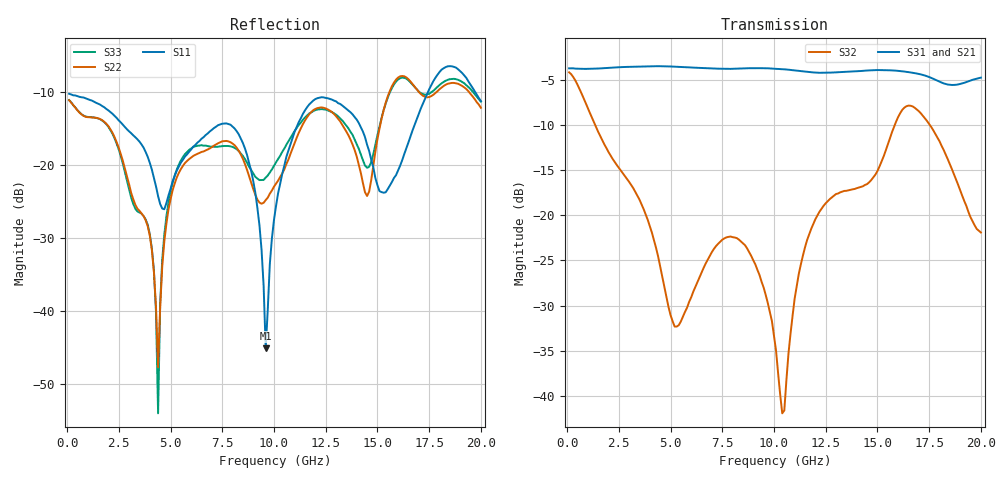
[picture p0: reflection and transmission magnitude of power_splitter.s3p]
!Agilent Technologies,N5242A,MY48320679,A.09.90.11
!Agilent N5242A: A.09.90.11
!Date: Thursday, September 10, 2015 15:28:43
!WITH PORT EXTENSION
!Correction: S11(Full 3 Port(1,2,3))
!S12(Full 3 Port(1,2,3))
!S13(Full 3 Port(1,2,3))
!S21(Full 3 Port(1,2,3))
!S22(Full 3 Port(1,2,3))
!S12(Full 3 Port(1,2,3))
!S31(Full 3 Port(1,2,3))
!S32(Full 3 Port(1,2,3))
!S33(Full 3 Port(1,2,3))
!S3P File: Measurements: <S11,S12,S13>,
!<S21,S22,S23>,
!<S31,S32,S33>:
# Hz S  dB  R 50
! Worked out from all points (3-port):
!   200 points, 100 MHz to 20 GHz, reference 50 ohm
!   strongest paths, dB at 100 MHz, 5.1 GHz, 10.1 GHz, 15.1 GHz, 20 GHz:
!     S31: -3.7, -3.5, -3.8, -3.9, -4.8
!     S21: -3.7, -3.6, -3.8, -4.2, -4.9
!     S32: -4.2, -31.7, -35.0, -14.6, -21.9
!   lowest |S11| = -45.1 dB at 9.6 GHz (marker M1), VSWR 1.01, Z = 49.4 - j0.0223 ohm
!   |S11| at or under -10 dB: start of sweep to 17.45 GHz; 19.72 GHz to end of sweep
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1e8  -10.26 175.7  -3.72 -3.9  -3.73 -3.8
     -3.73 -3.8  -11.14 165.6  -4.17 -8.4
     -3.72 -3.7  -4.17 -8.3  -11.14 165.3
3.9e9  -18.89 50.9  -3.54 -136.9  -3.51 -137.0
       -3.54 -136.9  -28.37 -111.2  -20.51 -153.9
       -3.51 -137.0  -20.51 -153.8  -28.16 -113.9
4.4e9  -24.26 61.0  -3.51 -155.0  -3.49 -155.2
       -3.51 -155.0  -47.66 147.0  -24.57 175.8
       -3.48 -155.2  -24.55 176.0  -53.94 125.0
5.4e9  -20.24 96.0  -3.59 168.4  -3.57 168.1
       -3.59 168.4  -21.09 57.4  -32.18 63.7
       -3.57 168.1  -32.18 63.4  -19.97 55.0
8.3e9  -15.82 -35.6  -3.80 62.4  -3.75 62.0
       -3.80 62.4  -18.07 9.1  -22.71 -65.7
       -3.75 62.0  -22.69 -65.8  -18.09 5.4
9.6e9  -45.05 -177.7  -3.75 12.0  -3.72 11.7
       -3.75 12.0  -24.80 85.0  -28.82 -102.3
       -3.72 11.7  -28.82 -102.5  -21.72 60.8
1.01e10  -25.59 57.4  -3.80 -7.8  -3.76 -8.2
         -3.79 -7.8  -22.54 99.1  -35.07 -102.1
         -3.77 -8.2  -34.99 -102.5  -19.64 78.8
1.43e10  -15.44 -114.9  -4.19 -176.5  -4.01 -176.7
         -4.18 -176.4  -22.48 25.2  -16.78 -82.2
         -4.00 -176.8  -16.79 -82.1  -19.34 26.5
1.65e10  -16.90 -177.5  -4.29 86.0  -4.15 84.0
         -4.29 85.9  -8.28 52.2  -7.86 -150.2
         -4.14 84.0  -7.85 -150.2  -8.43 48.9
2e10  -11.26 17.9  -4.89 -67.8  -4.76 -68.3
      -4.85 -67.7  -12.18 57.6  -21.88 -18.7
      -4.75 -68.4  -21.91 -19.1  -11.33 49.0
